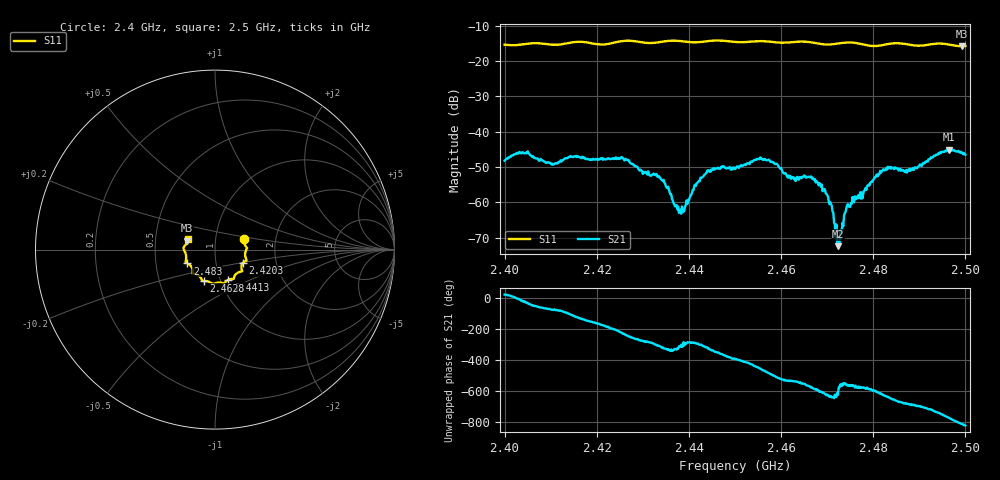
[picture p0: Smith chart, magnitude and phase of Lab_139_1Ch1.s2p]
# Hz S RI R 50
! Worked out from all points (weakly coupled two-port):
!   601 points, 2.4 GHz to 2.5 GHz, reference 50 ohm
!   highest |S21| = -45.08 dB at 2.4965 GHz (marker M1); lowest = -72.4 dB at 2.4723 GHz (marker M2)
!   lowest |S11| = -15.8 dB at 2.4993 GHz (marker M3), VSWR 1.39, Z = 36.5 + j3.72 ohm
!   |S11| at or under -10 dB: start of sweep to end of sweep
!   S12 and S22 are empty: the file has one direction only
!   S11 on the Smith chart (normalised r, x): 2.4 GHz: 1.37, +0.16; 2.4203 GHz: 1.35, -0.21; 2.4413 GHz: 1.09, -0.38; 2.4628 GHz: 0.83, -0.30; 2.483 GHz: 0.72, -0.11; 2.5 GHz: 0.73, +0.09
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2.4e9  0.1605 0.057  0.0036 0.00146  0 0  0 0
2.403667e9  0.17 0.0203  0.00465 -0.00165  0 0  0 0
2.416667e9  0.1762 -0.0615  -0.00296 -0.00298  0 0  0 0
2.420333e9  0.1554 -0.074  -0.00399 -0.000976  0 0  0 0
2.425833e9  0.1516 -0.1185  -0.00262 0.00317  0 0  0 0
2.433333e9  0.108 -0.1484  0.00136 0.00181  0 0  0 0
2.438333e9  0.098 -0.1634  0.000359 0.000588  0 0  0 0
2.441333e9  0.0743 -0.1679  0.000588 0.00167  0 0  0 0
2.444333e9  0.0547 -0.1839  0.00239 0.00155  0 0  0 0
2.45e9  0.0293 -0.1838  0.00248 -0.0016  0 0  0 0
2.456e9  -0.012 -0.1905  -0.00113 -0.00382  0 0  0 0
2.462833e9  -0.063 -0.1748  -0.00223 -6.73e-05  0 0  0 0
2.466667e9  -0.0742 -0.1675  -0.00171 0.00134  0 0  0 0
2.469833e9  -0.0909 -0.145  -3.92e-05 0.00131  0 0  0 0
2.472333e9  -0.1137 -0.1351  -1.72e-05 0.000239  0 0  0 0
2.474333e9  -0.124 -0.1342  -0.000837 0.000369  0 0  0 0
2.483e9  -0.1547 -0.0769  0.000335 0.00289  0 0  0 0
2.483333e9  -0.1569 -0.0758  0.000523 0.00298  0 0  0 0
2.4875e9  -0.1615 -0.0573  0.00231 0.00171  0 0  0 0
2.4965e9  -0.1694 0.0194  0.00324 -0.00453  0 0  0 0
2.499333e9  -0.154 0.0496  -0.000273 -0.00502  0 0  0 0
2.5e9  -0.1524 0.0584  -0.00106 -0.00458  0 0  0 0
